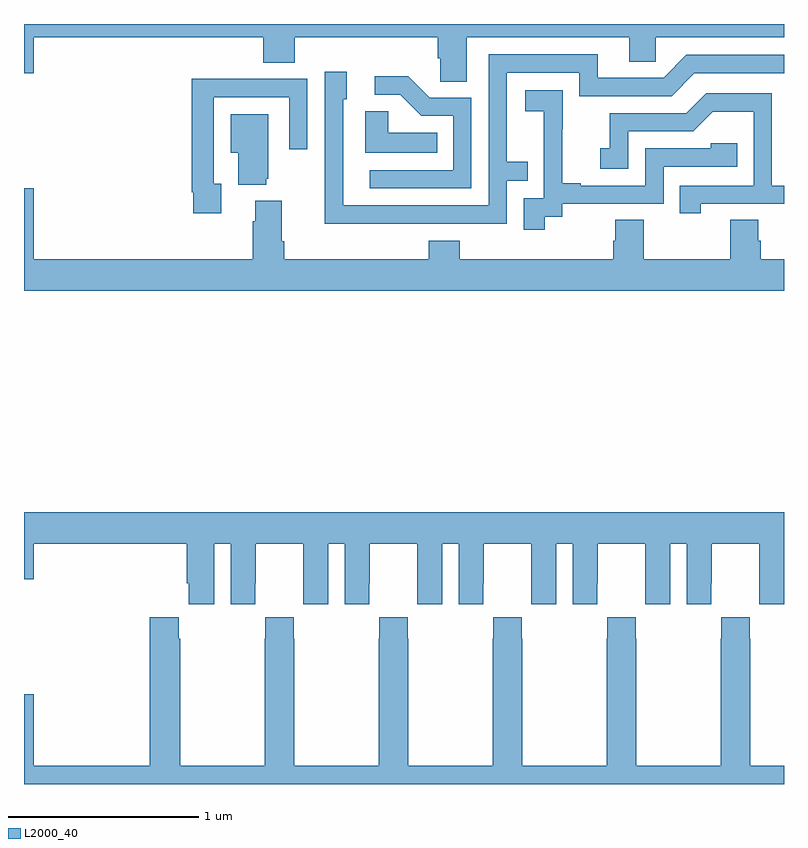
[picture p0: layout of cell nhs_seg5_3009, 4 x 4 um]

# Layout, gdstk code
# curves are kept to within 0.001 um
import gdstk
lib = gdstk.Library(unit=1e-6, precision=1e-09)
def P(c, l, *ps):  # polygons
    for p in ps: c.add(gdstk.Polygon(p, *l))
L2000_40 = (2000, 40)

nhs_seg5_3009 = lib.new_cell('nhs_seg5_3009')
P(nhs_seg5_3009, L2000_40, [(287.329,888.728),(288.185,888.728),(288.185,888.601),(288.324,888.601),(288.324,888.728),(289,888.728),(289,888.799),(285,888.799),(285,888.54),(285.052,888.54),(285.052,888.728),(286.259,888.728),(286.259,888.595),(286.424,888.595),(286.424,888.728),(287.177,888.728),(287.177,888.619),(287.19,888.619),(287.19,888.496),(287.329,888.496)],
  [(287.045,887.748),(287.541,887.748),(287.541,887.973),(287.651,887.973),(287.651,888.074),(287.541,888.074),(287.541,888.543),(287.922,888.543),(287.922,888.42),(288.408,888.42),(288.528,888.54),(289,888.54),(289,888.636),(288.486,888.636),(288.366,888.516),(288.019,888.516),(288.019,888.639),(287.445,888.639),(287.445,887.844),(286.68,887.844),(286.68,888.402),(286.699,888.402),(286.699,888.547),(286.584,888.547),(286.584,888.053),(286.582,888.053),(286.582,887.747)],
  [(287.355,888.411),(287.136,888.411),(287.023,888.524),(286.845,888.524),(286.845,888.426),(286.979,888.426),(287.09,888.315),(287.259,888.315),(287.259,888.03),(286.821,888.03),(286.821,887.934),(287.355,887.934)],
  [(286.039,887.958),(285.999,887.958),(285.999,888.414),(286.395,888.414),(286.395,888.141),(286.491,888.141),(286.491,888.51),(286.175,888.51),(286.175,888.512),(285.883,888.512),(285.883,887.914),(285.891,887.914),(285.891,887.802),(286.039,887.802)],
  [(287.74,887.785),(287.832,887.785),(287.832,887.853),(288.366,887.853),(288.366,888.048),(288.755,888.048),(288.755,888.171),(288.615,888.171),(288.615,888.144),(288.27,888.144),(288.27,887.949),(287.929,887.949),(287.929,887.962),(287.834,887.962),(287.834,888.245),(287.835,888.245),(287.835,888.451),(287.637,888.451),(287.637,888.341),(287.735,888.341),(287.735,888.113),(287.736,888.113),(287.736,887.883),(287.631,887.883),(287.631,887.715),(287.74,887.715)],
  [(288.562,887.853),(289,887.853),(289,887.949),(288.936,887.949),(288.936,888.435),(288.59,888.435),(288.485,888.33),(288.082,888.33),(288.082,888.145),(288.033,888.145),(288.033,888.036),(288.18,888.036),(288.18,888.234),(288.522,888.234),(288.626,888.338),(288.84,888.338),(288.84,887.949),(288.451,887.949),(288.451,887.802),(288.562,887.802)],
  [(287.174,888.226),(286.917,888.226),(286.917,888.341),(286.796,888.341),(286.796,888.122),(287.174,888.122)],
  [(286.274,887.985),(286.285,887.985),(286.285,888.325),(286.088,888.325),(286.088,888.122),(286.127,888.122),(286.127,887.954),(286.274,887.954)],
  [(289,887.56),(288.878,887.56),(288.878,887.658),(288.865,887.658),(288.865,887.768),(288.718,887.768),(288.718,887.56),(288.261,887.56),(288.261,887.768),(288.113,887.768),(288.113,887.658),(288.101,887.658),(288.101,887.56),(287.294,887.56),(287.294,887.659),(287.129,887.659),(287.129,887.56),(286.37,887.56),(286.37,887.656),(286.357,887.656),(286.357,887.869),(286.217,887.869),(286.217,887.762),(286.205,887.762),(286.205,887.56),(285.052,887.56),(285.052,887.935),(285,887.935),(285,887.396),(289,887.396)],
  [(286,886.064),(286.088,886.064),(286.088,885.744),(286.218,885.744),(286.218,885.856),(286.219,885.856),(286.219,886.064),(286.469,886.064),(286.469,885.856),(286.47,885.856),(286.47,885.744),(286.6,885.744),(286.6,886.064),(286.688,886.064),(286.688,885.744),(286.818,885.744),(286.818,885.856),(286.819,885.856),(286.819,886.064),(287.069,886.064),(287.069,885.856),(287.07,885.856),(287.07,885.744),(287.2,885.744),(287.2,886.064),(287.288,886.064),(287.288,885.744),(287.418,885.744),(287.418,885.856),(287.419,885.856),(287.419,886.064),(287.669,886.064),(287.669,885.856),(287.67,885.856),(287.67,885.744),(287.8,885.744),(287.8,886.064),(287.888,886.064),(287.888,885.744),(288.018,885.744),(288.018,885.856),(288.019,885.856),(288.019,886.064),(288.269,886.064),(288.269,885.856),(288.27,885.856),(288.27,885.744),(288.4,885.744),(288.4,886.064),(288.488,886.064),(288.488,885.744),(288.618,885.744),(288.618,885.856),(288.619,885.856),(288.619,886.064),(288.869,886.064),(288.869,885.856),(288.87,885.856),(288.87,885.744),(289,885.744),(289,886.228),(285,886.228),(285,885.876),(285.052,885.876),(285.052,886.064),(285.857,886.064),(285.857,885.856),(285.866,885.856),(285.866,885.744),(286,885.744)],
  [(289,884.896),(288.822,884.896),(288.822,885.563),(288.819,885.563),(288.819,885.676),(288.669,885.676),(288.669,885.563),(288.667,885.563),(288.667,884.896),(288.222,884.896),(288.222,885.563),(288.219,885.563),(288.219,885.676),(288.069,885.676),(288.069,885.563),(288.067,885.563),(288.067,884.896),(287.622,884.896),(287.622,885.563),(287.619,885.563),(287.619,885.676),(287.469,885.676),(287.469,885.563),(287.467,885.563),(287.467,884.896),(287.022,884.896),(287.022,885.563),(287.019,885.563),(287.019,885.676),(286.869,885.676),(286.869,885.563),(286.867,885.563),(286.867,884.896),(286.422,884.896),(286.422,885.563),(286.419,885.563),(286.419,885.676),(286.269,885.676),(286.269,885.563),(286.267,885.563),(286.267,884.896),(285.822,884.896),(285.822,885.563),(285.815,885.563),(285.815,885.676),(285.662,885.676),(285.662,884.896),(285.052,884.896),(285.052,885.271),(285,885.271),(285,884.799),(289,884.799)])

lib.write_gds('nhs_seg5_3009.gds')
